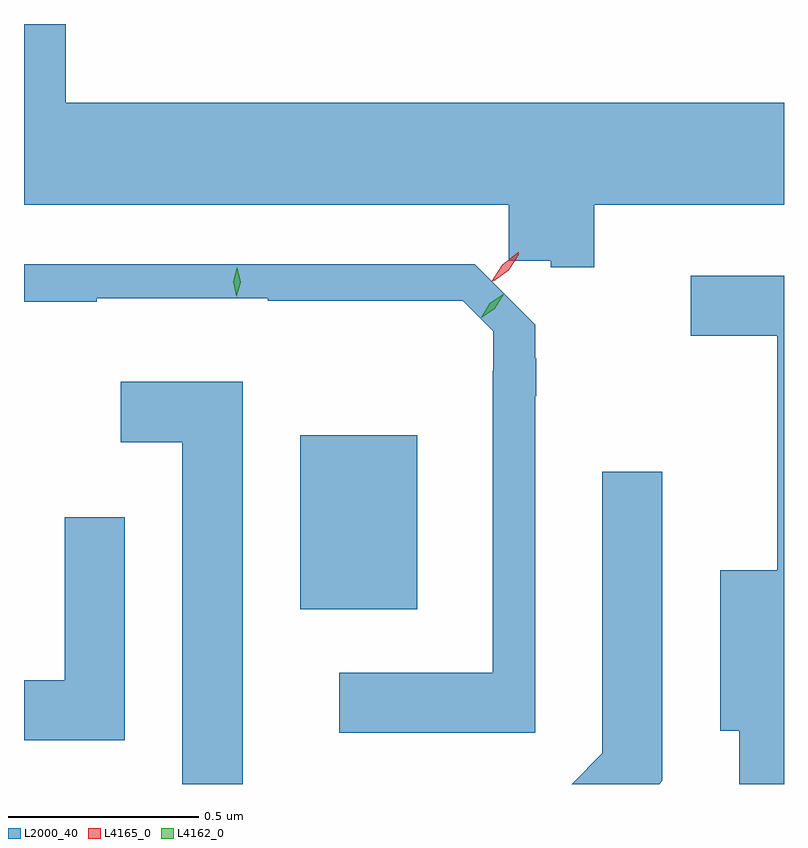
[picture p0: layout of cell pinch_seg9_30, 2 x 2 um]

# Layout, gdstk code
import gdstk
lib = gdstk.Library(unit=1e-6, precision=1e-09)
def R(c, l, rs):  # rectangles x0, y0, x1, y1
    for r in rs: c.add(gdstk.rectangle(r[:2], r[2:], *l))
def P(c, l, *ps):  # polygons
    for p in ps: c.add(gdstk.Polygon(p, *l))
L2000_40 = (2000, 40)
L4162_0 = (4162, 0)
L4165_0 = (4165, 0)

pinch_seg9_30 = lib.new_cell('pinch_seg9_30')
R(pinch_seg9_30, L2000_40, [(1027.721,2012.951,1028.029,2013.409)])
P(pinch_seg9_30, L2000_40, [(1028.494,2014.016),(1028.994,2014.016),(1028.994,2014.284),(1027.104,2014.284),(1027.104,2014.491),(1026.994,2014.491),(1026.994,2014.016),(1028.27,2014.016),(1028.27,2013.868),(1028.38,2013.868),(1028.38,2013.851),(1028.494,2013.851)],
  [(1028.339,2013.512),(1028.342,2013.512),(1028.342,2013.612),(1028.339,2013.612),(1028.339,2013.7),(1028.18,2013.859),(1026.994,2013.859),(1026.994,2013.76),(1027.185,2013.76),(1027.185,2013.769),(1027.636,2013.769),(1027.636,2013.763),(1028.149,2013.763),(1028.229,2013.682),(1028.229,2013.579),(1028.228,2013.579),(1028.228,2012.784),(1027.823,2012.784),(1027.823,2012.626),(1028.339,2012.626)],
  [(1028.994,2013.829),(1028.748,2013.829),(1028.748,2013.671),(1028.976,2013.671),(1028.976,2013.054),(1028.826,2013.054),(1028.826,2012.631),(1028.876,2012.631),(1028.876,2012.491),(1028.994,2012.491)],
  [(1027.569,2013.549),(1027.248,2013.549),(1027.248,2013.391),(1027.411,2013.391),(1027.411,2012.491),(1027.569,2012.491)],
  [(1028.674,2012.499),(1028.674,2013.313),(1028.516,2013.313),(1028.516,2012.572),(1028.436,2012.491),(1028.666,2012.491)],
  [(1027.259,2013.193),(1027.101,2013.193),(1027.101,2012.764),(1026.994,2012.764),(1026.994,2012.606),(1027.259,2012.606)])
P(pinch_seg9_30, L4162_0, [(1028.196,2013.717),(1028.196,2013.717),(1028.219,2013.756),(1028.256,2013.781),(1028.257,2013.781),(1028.257,2013.78),(1028.233,2013.742),(1028.196,2013.717)],
  [(1027.554,2013.775),(1027.553,2013.776),(1027.544,2013.813),(1027.554,2013.849),(1027.554,2013.85),(1027.555,2013.849),(1027.564,2013.812),(1027.554,2013.776)])
P(pinch_seg9_30, L4165_0, [(1028.225,2013.813),(1028.225,2013.814),(1028.253,2013.858),(1028.295,2013.89),(1028.296,2013.89),(1028.296,2013.889),(1028.268,2013.845),(1028.225,2013.813)],
  [(1028.23,2013.814),(1028.23,2013.814),(1028.256,2013.856),(1028.295,2013.885),(1028.296,2013.885),(1028.296,2013.884),(1028.27,2013.843),(1028.23,2013.814)])

lib.write_gds('pinch_seg9_30.gds')
